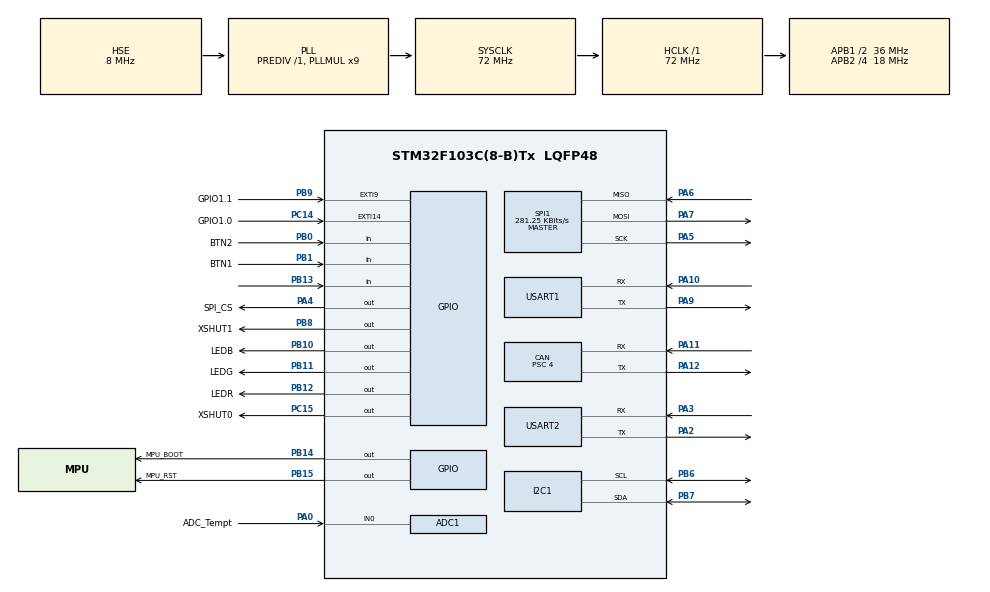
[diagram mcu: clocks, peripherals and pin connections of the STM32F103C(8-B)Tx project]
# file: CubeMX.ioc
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ADC1.Channel-3\#ChannelRegularConversion=ADC_CHANNEL_0
ADC1.NbrOfConversionFlag=1
ADC1.Rank-3\#ChannelRegularConversion=1
ADC1.SamplingTime-3\#ChannelRegularConversion=ADC_SAMPLETIME_239CYCLES_5
ADC1.master=1
CAN.BS1=CAN_BS1_13TQ
CAN.BS2=CAN_BS2_4TQ
CAN.CalculateBaudRate=500000
CAN.CalculateTimeBit=2000
CAN.CalculateTimeQuantum=111.11111111111111
CAN.Prescaler=4
Dma.Request0=SPI1_RX
Dma.Request1=SPI1_TX
Dma.SPI1_RX.0.Direction=DMA_PERIPH_TO_MEMORY
Dma.SPI1_RX.0.Instance=DMA1_Channel2
Dma.SPI1_RX.0.MemDataAlignment=DMA_MDATAALIGN_BYTE
Dma.SPI1_RX.0.MemInc=DMA_MINC_ENABLE
Dma.SPI1_RX.0.Mode=DMA_NORMAL
Dma.SPI1_RX.0.PeriphDataAlignment=DMA_PDATAALIGN_BYTE
Dma.SPI1_RX.0.PeriphInc=DMA_PINC_DISABLE
Dma.SPI1_RX.0.Priority=DMA_PRIORITY_LOW
Dma.SPI1_TX.1.Direction=DMA_MEMORY_TO_PERIPH
Dma.SPI1_TX.1.Instance=DMA1_Channel3
Dma.SPI1_TX.1.MemDataAlignment=DMA_MDATAALIGN_BYTE
Dma.SPI1_TX.1.MemInc=DMA_MINC_ENABLE
Dma.SPI1_TX.1.Mode=DMA_NORMAL
Dma.SPI1_TX.1.PeriphDataAlignment=DMA_PDATAALIGN_BYTE
Dma.SPI1_TX.1.PeriphInc=DMA_PINC_DISABLE
Dma.SPI1_TX.1.Priority=DMA_PRIORITY_LOW
FATFS._USE_LFN=3
Mcu.Family=STM32F1
Mcu.Name=STM32F103C(8-B)Tx
Mcu.Package=LQFP48
NVIC.DMA1_Channel2_IRQn=true\:0\:0\:false\:false\:true\:false\:true\:true
NVIC.DMA1_Channel3_IRQn=true\:0\:0\:false\:false\:true\:false\:true\:true
NVIC.EXTI15_10_IRQn=true\:0\:0\:false\:false\:true\:true\:true\:true
NVIC.EXTI9_5_IRQn=true\:0\:0\:false\:false\:true\:true\:true\:true
NVIC.PriorityGroup=NVIC_PRIORITYGROUP_4
PA0-WKUP.GPIO_Label=ADC_Tempt
PA0-WKUP.Signal=ADCx_IN0
PA10.Mode=Asynchronous
PA10.Signal=USART1_RX
PA11.Mode=CAN_Activate
PA11.Signal=CAN_RX
PA12.Mode=CAN_Activate
PA12.Signal=CAN_TX
PA13.Mode=Serial_Wire
PA13.Signal=SYS_JTMS-SWDIO
PA14.Mode=Serial_Wire
PA14.Signal=SYS_JTCK-SWCLK
PA2.Mode=Asynchronous
PA2.Signal=USART2_TX
PA3.Mode=Asynchronous
PA3.Signal=USART2_RX
PA4.GPIO_Label=SPI_CS
PA4.GPIO_Speed=GPIO_SPEED_FREQ_HIGH
PA4.PinState=GPIO_PIN_SET
PA4.Signal=GPIO_Output
PA5.Mode=Full_Duplex_Master
PA5.Signal=SPI1_SCK
PA6.Mode=Full_Duplex_Master
PA6.Signal=SPI1_MISO
PA7.Mode=Full_Duplex_Master
PA7.Signal=SPI1_MOSI
PA9.Mode=Asynchronous
PA9.Signal=USART1_TX
PB0.GPIO_Label=BTN2
PB0.Signal=GPIO_Input
PB1.GPIO_Label=BTN1
PB1.Signal=GPIO_Input
PB10.GPIO_Label=LEDB
PB10.Signal=GPIO_Output
PB11.GPIO_Label=LEDG
PB11.Signal=GPIO_Output
PB12.GPIO_Label=LEDR
PB12.Signal=GPIO_Output
PB13.Signal=GPIO_Input
PB14.GPIO_Label=MPU_BOOT
PB14.Signal=GPIO_Output
PB15.GPIO_Label=MPU_RST
PB15.Signal=GPIO_Output
PB6.Mode=I2C
PB6.Signal=I2C1_SCL
PB7.Mode=I2C
PB7.Signal=I2C1_SDA
PB8.GPIO_Label=XSHUT1
PB8.Signal=GPIO_Output
PB9.GPIO_Label=GPIO1.1
PB9.Signal=GPXTI9
PC14-OSC32_IN.GPIO_Label=GPIO1.0
PC14-OSC32_IN.Signal=GPXTI14
PC15-OSC32_OUT.GPIO_Label=XSHUT0
PC15-OSC32_OUT.Signal=GPIO_Output
PD0-OSC_IN.Mode=HSE-External-Oscillator
PD0-OSC_IN.Signal=RCC_OSC_IN
PD1-OSC_OUT.Mode=HSE-External-Oscillator
PD1-OSC_OUT.Signal=RCC_OSC_OUT
ProjectManager.HeapSize=0x200
ProjectManager.StackSize=0x400
ProjectManager.TargetToolchain=STM32CubeIDE
RCC.ADCPresc=RCC_ADCPCLK2_DIV6
RCC.AHBFreq_Value=72000000
RCC.APB1CLKDivider=RCC_HCLK_DIV2
RCC.APB1Freq_Value=36000000
RCC.APB1TimFreq_Value=72000000
RCC.APB2CLKDivider=RCC_HCLK_DIV4
RCC.APB2Freq_Value=18000000
RCC.APB2TimFreq_Value=36000000
RCC.HCLKFreq_Value=72000000
RCC.PLLMUL=RCC_PLL_MUL9
RCC.PLLSourceVirtual=RCC_PLLSOURCE_HSE
RCC.SYSCLKFreq_VALUE=72000000
RCC.SYSCLKSource=RCC_SYSCLKSOURCE_PLLCLK
RCC.USBFreq_Value=72000000
SH.ADCx_IN0.0=ADC1_IN0,IN0
SPI1.BaudRatePrescaler=SPI_BAUDRATEPRESCALER_64
SPI1.CalculateBaudRate=281.25 KBits/s
SPI1.Direction=SPI_DIRECTION_2LINES
SPI1.Mode=SPI_MODE_MASTER
SPI1.VirtualType=VM_MASTER
USART1.VirtualMode=VM_ASYNC
USART2.VirtualMode=VM_ASYNC
VP_FATFS_VS_Generic.Mode=User_defined
board=custom

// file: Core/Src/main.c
/* USER CODE BEGIN Header */
/**
 ******************************************************************************
 * @file           : main.c
 * @brief          : Main program body
 ******************************************************************************
 * @attention
 *
 * Copyright (c) 2026 STMicroelectronics.
 * All rights reserved.
 *
 * This software is licensed under terms that can be found in the LICENSE file
 * in the root directory of this software component.
 * If no LICENSE file comes with this software, it is provided AS-IS.
 *
 ******************************************************************************
 */
/* USER CODE END Header */
#include "main.h"
#include "fatfs.h"

/* USER CODE BEGIN Includes */
#include "string.h"
#include "stdio.h"
#include "sd_functions.h"
#include "driver_ina219.h"
#include "app_wrapper.h"
#include "config.h"
#include "vl53l1_api.h"
/* USER CODE END Includes */

ADC_HandleTypeDef hadc1;

CAN_HandleTypeDef hcan;

I2C_HandleTypeDef hi2c1;

SPI_HandleTypeDef hspi1;
DMA_HandleTypeDef hdma_spi1_rx;
DMA_HandleTypeDef hdma_spi1_tx;

UART_HandleTypeDef huart1;
UART_HandleTypeDef huart2;

/* USER CODE BEGIN PV */

#define NODE_SENSOR        2
#define NODE_ACTUATOR      1
#define NODE_ID            NODE_SENSOR
#define CAN_ID_HEARTBEAT   0x200
#define FW_MAJOR           0
#define FW_MINOR           1

/* ---- Tang goi: mot dinh nghia dung chung cho CAN va UART ----
 * CAN  : StdId = NODE_BASE + pkt_id
 * UART : $<node>,<pkt>,<uptime>,<payload hex>*<xor checksum>
 */
#define NODE_BASE_ACTUATOR 0x100
#define NODE_BASE_SENSOR   0x200
#define NODE_BASE          NODE_BASE_SENSOR

#define PKT_HEARTBEAT      0x00
#define PKT_ENV            0x01

#define LM35_VDDA_MV       3300UL
#define LM35_OVERSAMPLE    16U
#define LM35_DIVISOR       (4096UL * LM35_OVERSAMPLE)

static CAN_TxHeaderTypeDef canTxHeader;
static uint8_t  canTxData[8];
static uint32_t canTxMailbox;

static ina219_handle_t ina219_handle;

/* USER CODE END PV */

void SystemClock_Config(void);
static void MX_GPIO_Init(void);
static void MX_DMA_Init(void);
static void MX_ADC1_Init(void);
static void MX_CAN_Init(void);
static void MX_I2C1_Init(void);
static void MX_SPI1_Init(void);
static void MX_USART1_UART_Init(void);
static void MX_USART2_UART_Init(void);

/* USER CODE BEGIN 0 */
void CAN_NodeInit(void);
void CAN_SendHeartbeat(uint32_t uptime_ms);
void pkt_send(uint8_t pkt_id, const uint8_t *data, uint8_t len);
void Sensor_SendEnv(void);
void SPI_Loopback(void);
void SPI_CsBlink(uint32_t ms);

/* --- CÁC HÀM CẦU NỐI CHO INA219 --- */
static uint8_t ina219_iic_init(void) { return 0; }
static uint8_t ina219_iic_deinit(void) { return 0; }
static uint8_t ina219_iic_read(uint8_t addr, uint8_t reg, uint8_t *buf, uint16_t len)
{
	// hi2c1 đã được khởi tạo trong MX_I2C1_Init()
	return (HAL_I2C_Mem_Read(&hi2c1, addr, reg, I2C_MEMADD_SIZE_8BIT, buf, len, 100) == HAL_OK) ? 0 : 1;
}
static uint8_t ina219_iic_write(uint8_t addr, uint8_t reg, uint8_t *buf, uint16_t len)
{
	return (HAL_I2C_Mem_Write(&hi2c1, addr, reg, I2C_MEMADD_SIZE_8BIT, buf, len, 100) == HAL_OK) ? 0 : 1;
}
static void ina219_delay_ms(uint32_t ms)
{
	HAL_Delay(ms);
}
static void ina219_debug_print(const char *const fmt, ...)
{
	// Để trống nếu không dùng debug log nội bộ của driver
}

static void scan_bus(const char *title)
{
	printf("%-35s -> Dev: ", title);
	uint8_t count = 0;
	for (uint8_t a = 0x08; a <= 0x77; a++) {
		if (HAL_I2C_IsDeviceReady(&hi2c1, (uint16_t)(a << 1), 1, 5) == HAL_OK) {
			printf("0x%02X ", a);
			count++;
		}
	}
	if (count == 0) printf("None");
	printf("\r\n");
}
/* USER CODE END 0 */

int main(void)
{

	/* MCU Configuration--------------------------------------------------------*/

	/* Reset of all peripherals, Initializes the Flash interface and the Systick. */
	HAL_Init();

	/* Configure the system clock */
	SystemClock_Config();

	/* Initialize all configured peripherals */
	MX_GPIO_Init();
	MX_DMA_Init();
	MX_ADC1_Init();
	MX_CAN_Init();
	MX_I2C1_Init();
	MX_SPI1_Init();
	MX_USART1_UART_Init();
	MX_USART2_UART_Init();
	MX_FATFS_Init();
	/* USER CODE BEGIN 2 */

	//  Test
	//	SPI_Loopback();
	//  SD CARD
	//	sd_mount();
	//	sd_list_files();

	//
	//	sd_unmount();

	setvbuf(stdout, NULL, _IONBF, 0);

	printf("\r\n================ BAT DAU CHUOI TEST ================\r\n");
	/* =================================================================
	 * GIAI ĐOẠN 1: TEST SPI TRONG 5 GIÂY (Mỗi giây 1 mẫu)
	 * ================================================================= */
	//	printf("\n--- 1. TEST SPI (5s) ---\r\n");
	//	for (int i = 1; i <= 5; i++)
	//	{
	//		uint8_t tx = 0xA0 + i, rx = 0x00;
	//		HAL_SPI_TransmitReceive(&hspi1, &tx, &rx, 1, 50);
	//		printf("[SPI %ds] TX: 0x%02X | RX: 0x%02X (%s)\r\n",
	//				i, tx, rx, (rx == tx) ? "OK" : "NO LOOP");
	//		HAL_Delay(1000);
	//	}
	//	HAL_Delay(2000); // Nghỉ 2 giây trước khi qua phần 2
	//	/* =================================================================
	//	 * GIAI ĐOẠN 2: TEST I2C BUS SCAN TRONG 5 GIÂY (Mỗi giây quét 1 lần)
	//	 * ================================================================= */
	//	printf("\n--- 2. TEST I2C BUS (5s) ---\r\n");
	//	for (int i = 1; i <= 5; i++)
	//	{
	//		uint8_t count = 0;
	//		printf("[I2C %ds] Dev: ", i);
	//		for (uint8_t addr = 0x08; addr <= 0x77; addr++)
	//		{
	//			if (HAL_I2C_IsDeviceReady(&hi2c1, (uint16_t)(addr << 1), 1, 5) == HAL_OK)
	//			{
	//				printf("0x%02X ", addr);
	//				count++;
	//			}
	//		}
	//		if (count == 0) printf("None");
	//		printf("\r\n");
	//		HAL_Delay(1000);
	//	}
	//	HAL_Delay(2000); // Nghỉ 2 giây trước khi qua phần 3
	//	/* =================================================================
	//	 * GIAI ĐOẠN 3: TEST CẢM BIẾN DÒNG/ÁP INA219 TRONG 5 GIÂY
	//	 * ================================================================= */
	//	printf("\n--- 3. TEST INA219 (5s) ---\r\n");
	//	DRIVER_INA219_LINK_INIT(&ina219_handle, ina219_handle_t);
	//	DRIVER_INA219_LINK_IIC_INIT(&ina219_handle, ina219_iic_init);
	//	DRIVER_INA219_LINK_IIC_DEINIT(&ina219_handle, ina219_iic_deinit);
	//	DRIVER_INA219_LINK_IIC_READ(&ina219_handle, ina219_iic_read);
	//	DRIVER_INA219_LINK_IIC_WRITE(&ina219_handle, ina219_iic_write);
	//	DRIVER_INA219_LINK_DELAY_MS(&ina219_handle, ina219_delay_ms);
	//	DRIVER_INA219_LINK_DEBUG_PRINT(&ina219_handle, ina219_debug_print);
	//	ina219_set_addr_pin(&ina219_handle, INA219_ADDRESS_0);
	//	if (ina219_init(&ina219_handle) == 0)
	//	{
	//		for (int i = 1; i <= 5; i++)
	//		{
	//			uint16_t v_raw = 0;
	//			int16_t s_raw = 0;
	//			float v_bus_mV = 0.0f, v_shunt_mV = 0.0f;
	//			ina219_read_bus_voltage(&ina219_handle, &v_raw, &v_bus_mV);
	//			ina219_read_shunt_voltage(&ina219_handle, &s_raw, &v_shunt_mV);
	//			int v_mv = (int)v_bus_mV;
	//			int i_ma = (int)(v_shunt_mV * 10.0f);
	//			printf("[INA219 %ds] V: %d.%02dV | I: %d mA\r\n",
	//					i, v_mv / 1000, (v_mv % 1000) / 10, i_ma);
	//
	//			HAL_Delay(1000);
	//		}
	//	}
	//	else
	//	{
	//		printf("[INA219] Khởi tạo thất bại!\r\n");
	//	}
	//	HAL_Delay(2000); // Nghỉ 2 giây trước khi qua phần 4
	//	/* =================================================================
	//	 * GIAI ĐOẠN 4: TEST NHIỆT ĐỘ LM35 TRONG 10 GIÂY
	//	 * ================================================================= */
	//	printf("\n--- 4. TEST LM35 NHIỆT ĐỘ (10s) ---\r\n");
	//	for (int i = 1; i <= 10; i++)
	//	{
	//		HAL_ADC_Start(&hadc1);
	//		if (HAL_ADC_PollForConversion(&hadc1, 50) == HAL_OK)
	//		{
	//			uint32_t raw = HAL_ADC_GetValue(&hadc1);
	//			uint32_t temp_x10 = (raw * 3300) / 4095; // Nhân 10 để giữ 1 số thập phân
	//			printf("[LM35 %2ds] Raw: %4lu | Temp: %lu.%lu C\r\n", i, (unsigned long)raw, temp_x10 / 10, temp_x10 % 10);
	//
	//		}
	//		else
	//		{
	//			printf("[LM35 %2ds] ADC Timeout\r\n", i);
	//		}
	//		HAL_ADC_Stop(&hadc1);
	//		HAL_Delay(1000);
	//	}
	//	HAL_Delay(2000); // Nghỉ 2 giây trước khi qua phần 5
	//	/* =================================================================
	//	 * GIAI ĐOẠN 5: TEST ĐÈN LED TRONG 5 GIÂY (Đổi màu mỗi 500ms)
	//	 * ================================================================= */
	//	printf("\n--- 5. TEST LED RGB (5s) ---\r\n");
	//	HAL_GPIO_WritePin(GPIOB, LEDR_Pin | LEDG_Pin | LEDB_Pin, GPIO_PIN_RESET);
	//	for (int i = 1; i <= 5; i++)
	//	{
	//		// 1. Đỏ (LEDR - PB12)
	//		HAL_GPIO_WritePin(LEDR_GPIO_Port, LEDR_Pin, GPIO_PIN_SET);
	//		HAL_GPIO_WritePin(LEDG_GPIO_Port, LEDG_Pin, GPIO_PIN_RESET);
	//		HAL_GPIO_WritePin(LEDB_GPIO_Port, LEDB_Pin, GPIO_PIN_RESET);
	//		printf("[LED %ds] -> ĐỎ\r\n", i);
	//		HAL_Delay(350);
	//		// 2. Xanh lá (LEDG - PB11)
	//		HAL_GPIO_WritePin(LEDR_GPIO_Port, LEDR_Pin, GPIO_PIN_RESET);
	//		HAL_GPIO_WritePin(LEDG_GPIO_Port, LEDG_Pin, GPIO_PIN_SET);
	//		HAL_GPIO_WritePin(LEDB_GPIO_Port, LEDB_Pin, GPIO_PIN_RESET);
	//		printf("[LED %ds] -> XANH LÁ\r\n", i);
	//		HAL_Delay(350);
	//		// 3. Xanh dương (LEDB - PB10)
	//		HAL_GPIO_WritePin(LEDR_GPIO_Port, LEDR_Pin, GPIO_PIN_RESET);
	//		HAL_GPIO_WritePin(LEDG_GPIO_Port, LEDG_Pin, GPIO_PIN_RESET);
	//		HAL_GPIO_WritePin(LEDB_GPIO_Port, LEDB_Pin, GPIO_PIN_SET);
	//		printf("[LED %ds] -> XANH DƯƠNG\r\n", i);
	//		HAL_Delay(300);
	//	}
	//	HAL_GPIO_WritePin(GPIOB, LEDR_Pin | LEDG_Pin | LEDB_Pin, GPIO_PIN_RESET);
	//	HAL_Delay(2000); // Nghỉ 2 giây trước khi qua phần 6
	/* =================================================================
	 * GIAI ĐOẠN 6: CHẨN ĐOÁN XSHUT & ĐỊA CHỈ I2C CỦA VL53L1X
	 * ================================================================= */
	printf("\r\n================ CHUẨN ĐOÁN CẤU HÌNH VL53L1X ================\r\n");

	/* BƯỚC 1: Tắt cả 2 cảm biến (XSHUT = LOW) */
	HAL_GPIO_WritePin(XSHUT0_GPIO_Port, XSHUT0_Pin, GPIO_PIN_RESET);
	HAL_GPIO_WritePin(XSHUT1_GPIO_Port, XSHUT1_Pin, GPIO_PIN_RESET);
	HAL_Delay(100);
	scan_bus("[1] Tat ca XSHUT = LOW (Mong doi: Khong co VL53L1 nao)");

	/* BƯỚC 2: Bật Cảm biến 0 (PC15) -> Xem địa chỉ khởi tạo gốc */
	HAL_GPIO_WritePin(XSHUT0_GPIO_Port, XSHUT0_Pin, GPIO_PIN_SET);
	HAL_Delay(100);
	printf("[2] Bat Sensor 0 (PC15): Dia chi khoi tao mac dinh = 0x52 (7-bit: 0x29)\r\n");
	scan_bus("    -> Quet I2C sau khi bat Sensor 0");

	/* BƯỚC 3: Tắt lại để nhường cho hàm SensorManager tự quản lý */
	HAL_GPIO_WritePin(XSHUT0_GPIO_Port, XSHUT0_Pin, GPIO_PIN_RESET);
	HAL_Delay(50);

	/* BƯỚC 4: In cấu hình địa chỉ dự kiến gán mới */
	printf("\r\n--- Cau hinh dia chi moi tu config.h ---\r\n");
	for (uint8_t s = 0; s < L1_COUNT; s++) {
		printf("Sensor %u (Pin: %s) -> Dia chi moi: 0x%02X (7-bit: 0x%02X)\r\n",
				s, (s == 0) ? "PC15" : "PB8", L1_I2C_ADDRS[s], L1_I2C_ADDRS[s] >> 1);
	}

	/* BƯỚC 5: Chạy khởi tạo SensorManager */
	printf("\r\nDang thuc hien khoi tao va doi dia chi I2C...\r\n");
	bool sensors_ok = sensor_system_init();
	if (sensors_ok) {
		printf("SensorManager: KHOI TAO THANH CONG!\r\n");
	} else {
		printf("SensorManager: KHOI TAO THAT BAI!\r\n");
	}

	/* BƯỚC 6: Quét bus I2C để kiểm chứng địa chỉ thực tế sau khi đổi */
	scan_bus("[3] Quet I2C thuc te sau khi doi dia chi (Mong doi: thay 0x30 va 0x31)");
	printf("=============================================================\r\n");

	printf("\r\n================ HOAN TAT BAI TEST ================\r\n");

	//
	//    /* ADC cua F103 phai hieu chuan mot lan sau moi lan cap nguon,
	//     * neu khong so doc bi lech offset. CubeMX khong sinh dong nay. */
	//    if (HAL_ADCEx_Calibration_Start(&hadc1) != HAL_OK)
	//      Error_Handler();
	//
	//    CAN_NodeInit();
	////    printf("\r\n=== node %u boot, fw %u.%u ===\r\n", NODE_ID, FW_MAJOR, FW_MINOR);
	//
	//    uint32_t t_hb = 0, t_env = 0;
	//    while (1)
	//    {
	//      uint32_t now = HAL_GetTick();
	//
	//      if (now - t_hb >= 200U)
	//      {
	//        t_hb = now;
	//        HAL_GPIO_TogglePin(LEDR_GPIO_Port, LEDR_Pin);
	//
	//        /* ESR cho biet CAN dang khoe hay dang chet */
	//        uint32_t esr = hcan.Instance->ESR;
	////        printf("[%lu] node=%u tec=%u rec=%u lec=%u boff=%u\r\n",
	////               now, NODE_ID,
	////               (unsigned)((esr >> 16) & 0xFF),
	////               (unsigned)((esr >> 24) & 0xFF),
	////               (unsigned)((esr >> 4) & 0x07),
	////               (unsigned)((esr >> 2) & 0x01));
	//
	//        CAN_SendHeartbeat(now);
	//      }
	//
	//      if (now - t_env >= 500U)
	//      {
	//        t_env = now;
	//        Sensor_SendEnv();
	//      }
	//    }
	/* USER CODE END 2 */

	/* Infinite loop */
	/* USER CODE BEGIN WHILE */
	uint32_t loop_sec = 0;
	while (1)
	{
		/* USER CODE END WHILE */

		/* USER CODE BEGIN 3 */
		loop_sec++;
		printf("\r\n================ [VL53L1 TEST - %4lus] ================\r\n", (unsigned long)loop_sec);
		for (uint8_t i = 0; i < L1_COUNT; i++) {
			printf("Sensor %u: ", i);
			uint16_t dist = sensor_system_get_distance(i);
			if (dist != 0xFFFF) {
				printf("Khoang cach: %4d mm | TOT\r\n", dist);
			} else {
				printf(" LOI (0xFFFF)\r\n");
			}
			HAL_Delay(100);
		}
		/* Hien thi 1 lan tren 1 giay (chu ky 1000ms) */
		HAL_Delay(1000);
	}
/* USER CODE END 3 */
}

void SystemClock_Config(void)
{
	RCC_OscInitTypeDef RCC_OscInitStruct = {0};
	RCC_ClkInitTypeDef RCC_ClkInitStruct = {0};
	RCC_PeriphCLKInitTypeDef PeriphClkInit = {0};

	/** Initializes the RCC Oscillators according to the specified parameters
	 * in the RCC_OscInitTypeDef structure.
	 */
	RCC_OscInitStruct.OscillatorType = RCC_OSCILLATORTYPE_HSE;
	RCC_OscInitStruct.HSEState = RCC_HSE_ON;
	RCC_OscInitStruct.HSEPredivValue = RCC_HSE_PREDIV_DIV1;
	RCC_OscInitStruct.HSIState = RCC_HSI_ON;
	RCC_OscInitStruct.PLL.PLLState = RCC_PLL_ON;
	RCC_OscInitStruct.PLL.PLLSource = RCC_PLLSOURCE_HSE;
	RCC_OscInitStruct.PLL.PLLMUL = RCC_PLL_MUL9;
	if (HAL_RCC_OscConfig(&RCC_OscInitStruct) != HAL_OK)
	{
		Error_Handler();
	}

	/** Initializes the CPU, AHB and APB buses clocks
	 */
	RCC_ClkInitStruct.ClockType = RCC_CLOCKTYPE_HCLK|RCC_CLOCKTYPE_SYSCLK
			|RCC_CLOCKTYPE_PCLK1|RCC_CLOCKTYPE_PCLK2;
	RCC_ClkInitStruct.SYSCLKSource = RCC_SYSCLKSOURCE_PLLCLK;
	RCC_ClkInitStruct.AHBCLKDivider = RCC_SYSCLK_DIV1;
	RCC_ClkInitStruct.APB1CLKDivider = RCC_HCLK_DIV2;
	RCC_ClkInitStruct.APB2CLKDivider = RCC_HCLK_DIV4;

	if (HAL_RCC_ClockConfig(&RCC_ClkInitStruct, FLASH_LATENCY_2) != HAL_OK)
	{
		Error_Handler();
	}
	PeriphClkInit.PeriphClockSelection = RCC_PERIPHCLK_ADC;
	PeriphClkInit.AdcClockSelection = RCC_ADCPCLK2_DIV6;
	if (HAL_RCCEx_PeriphCLKConfig(&PeriphClkInit) != HAL_OK)
	{
		Error_Handler();
	}
}

static void MX_ADC1_Init(void)
{

	ADC_ChannelConfTypeDef sConfig = {0};

	/** Common config
	 */
	hadc1.Instance = ADC1;
	hadc1.Init.ScanConvMode = ADC_SCAN_DISABLE;
	hadc1.Init.ContinuousConvMode = DISABLE;
	hadc1.Init.DiscontinuousConvMode = DISABLE;
	hadc1.Init.ExternalTrigConv = ADC_SOFTWARE_START;
	hadc1.Init.DataAlign = ADC_DATAALIGN_RIGHT;
	hadc1.Init.NbrOfConversion = 1;
	if (HAL_ADC_Init(&hadc1) != HAL_OK)
	{
		Error_Handler();
	}

	/** Configure Regular Channel
	 */
	sConfig.Channel = ADC_CHANNEL_0;
	sConfig.Rank = ADC_REGULAR_RANK_1;
	sConfig.SamplingTime = ADC_SAMPLETIME_239CYCLES_5;
	if (HAL_ADC_ConfigChannel(&hadc1, &sConfig) != HAL_OK)
	{
		Error_Handler();
	}

}

static void MX_CAN_Init(void)
{

	hcan.Instance = CAN1;
	hcan.Init.Prescaler = 4;
	hcan.Init.Mode = CAN_MODE_NORMAL;
	hcan.Init.SyncJumpWidth = CAN_SJW_1TQ;
	hcan.Init.TimeSeg1 = CAN_BS1_13TQ;
	hcan.Init.TimeSeg2 = CAN_BS2_4TQ;
	hcan.Init.TimeTriggeredMode = DISABLE;
	hcan.Init.AutoBusOff = DISABLE;
	hcan.Init.AutoWakeUp = DISABLE;
	hcan.Init.AutoRetransmission = DISABLE;
	hcan.Init.ReceiveFifoLocked = DISABLE;
	hcan.Init.TransmitFifoPriority = DISABLE;
	if (HAL_CAN_Init(&hcan) != HAL_OK)
	{
		Error_Handler();
	}

}

static void MX_I2C1_Init(void)
{

	hi2c1.Instance = I2C1;
	hi2c1.Init.ClockSpeed = 100000;
	hi2c1.Init.DutyCycle = I2C_DUTYCYCLE_2;
	hi2c1.Init.OwnAddress1 = 0;
	hi2c1.Init.AddressingMode = I2C_ADDRESSINGMODE_7BIT;
	hi2c1.Init.DualAddressMode = I2C_DUALADDRESS_DISABLE;
	hi2c1.Init.OwnAddress2 = 0;
	hi2c1.Init.GeneralCallMode = I2C_GENERALCALL_DISABLE;
	hi2c1.Init.NoStretchMode = I2C_NOSTRETCH_DISABLE;
	if (HAL_I2C_Init(&hi2c1) != HAL_OK)
	{
		Error_Handler();
	}

}

static void MX_SPI1_Init(void)
{

	/* SPI1 parameter configuration*/
	hspi1.Instance = SPI1;
	hspi1.Init.Mode = SPI_MODE_MASTER;
	hspi1.Init.Direction = SPI_DIRECTION_2LINES;
	hspi1.Init.DataSize = SPI_DATASIZE_8BIT;
	hspi1.Init.CLKPolarity = SPI_POLARITY_LOW;
	hspi1.Init.CLKPhase = SPI_PHASE_1EDGE;
	hspi1.Init.NSS = SPI_NSS_SOFT;
	hspi1.Init.BaudRatePrescaler = SPI_BAUDRATEPRESCALER_64;
	hspi1.Init.FirstBit = SPI_FIRSTBIT_MSB;
	hspi1.Init.TIMode = SPI_TIMODE_DISABLE;
	hspi1.Init.CRCCalculation = SPI_CRCCALCULATION_DISABLE;
	hspi1.Init.CRCPolynomial = 10;
	if (HAL_SPI_Init(&hspi1) != HAL_OK)
	{
		Error_Handler();
	}

}

static void MX_USART1_UART_Init(void)
{

	huart1.Instance = USART1;
	huart1.Init.BaudRate = 115200;
	huart1.Init.WordLength = UART_WORDLENGTH_8B;
	huart1.Init.StopBits = UART_STOPBITS_1;
	huart1.Init.Parity = UART_PARITY_NONE;
	huart1.Init.Mode = UART_MODE_TX_RX;
	huart1.Init.HwFlowCtl = UART_HWCONTROL_NONE;
	huart1.Init.OverSampling = UART_OVERSAMPLING_16;
	if (HAL_UART_Init(&huart1) != HAL_OK)
	{
		Error_Handler();
	}

}

static void MX_USART2_UART_Init(void)
{

	huart2.Instance = USART2;
	huart2.Init.BaudRate = 115200;
	huart2.Init.WordLength = UART_WORDLENGTH_8B;
	huart2.Init.StopBits = UART_STOPBITS_1;
	huart2.Init.Parity = UART_PARITY_NONE;
	huart2.Init.Mode = UART_MODE_TX_RX;
	huart2.Init.HwFlowCtl = UART_HWCONTROL_NONE;
	huart2.Init.OverSampling = UART_OVERSAMPLING_16;
	if (HAL_UART_Init(&huart2) != HAL_OK)
	{
		Error_Handler();
	}

}

static void MX_DMA_Init(void)
{

	/* DMA controller clock enable */
	__HAL_RCC_DMA1_CLK_ENABLE();

	/* DMA interrupt init */
	/* DMA1_Channel2_IRQn interrupt configuration */
	HAL_NVIC_SetPriority(DMA1_Channel2_IRQn, 0, 0);
	HAL_NVIC_EnableIRQ(DMA1_Channel2_IRQn);
	/* DMA1_Channel3_IRQn interrupt configuration */
	HAL_NVIC_SetPriority(DMA1_Channel3_IRQn, 0, 0);
	HAL_NVIC_EnableIRQ(DMA1_Channel3_IRQn);

}

static void MX_GPIO_Init(void)
{
	GPIO_InitTypeDef GPIO_InitStruct = {0};

	/* GPIO Ports Clock Enable */
	__HAL_RCC_GPIOC_CLK_ENABLE();
	__HAL_RCC_GPIOD_CLK_ENABLE();
	__HAL_RCC_GPIOA_CLK_ENABLE();
	__HAL_RCC_GPIOB_CLK_ENABLE();

	/*Configure GPIO pin Output Level */
	HAL_GPIO_WritePin(XSHUT0_GPIO_Port, XSHUT0_Pin, GPIO_PIN_RESET);

	/*Configure GPIO pin Output Level */
	HAL_GPIO_WritePin(SPI_CS_GPIO_Port, SPI_CS_Pin, GPIO_PIN_SET);

	/*Configure GPIO pin Output Level */
	HAL_GPIO_WritePin(GPIOB, LEDB_Pin|LEDG_Pin|LEDR_Pin|MPU_BOOT_Pin
			|MPU_RST_Pin|XSHUT1_Pin, GPIO_PIN_RESET);

	/*Configure GPIO pin : GPIO1_0_Pin */
	GPIO_InitStruct.Pin = GPIO1_0_Pin;
	GPIO_InitStruct.Mode = GPIO_MODE_IT_RISING;
	GPIO_InitStruct.Pull = GPIO_NOPULL;
	HAL_GPIO_Init(GPIO1_0_GPIO_Port, &GPIO_InitStruct);

	/*Configure GPIO pin : XSHUT0_Pin */
	GPIO_InitStruct.Pin = XSHUT0_Pin;
	GPIO_InitStruct.Mode = GPIO_MODE_OUTPUT_PP;
	GPIO_InitStruct.Pull = GPIO_NOPULL;
	GPIO_InitStruct.Speed = GPIO_SPEED_FREQ_LOW;
	HAL_GPIO_Init(XSHUT0_GPIO_Port, &GPIO_InitStruct);

	/*Configure GPIO pin : SPI_CS_Pin */
	GPIO_InitStruct.Pin = SPI_CS_Pin;
	GPIO_InitStruct.Mode = GPIO_MODE_OUTPUT_PP;
	GPIO_InitStruct.Pull = GPIO_NOPULL;
	GPIO_InitStruct.Speed = GPIO_SPEED_FREQ_HIGH;
	HAL_GPIO_Init(SPI_CS_GPIO_Port, &GPIO_InitStruct);

	/*Configure GPIO pins : BTN2_Pin BTN1_Pin PB13 */
	GPIO_InitStruct.Pin = BTN2_Pin|BTN1_Pin|GPIO_PIN_13;
	GPIO_InitStruct.Mode = GPIO_MODE_INPUT;
	GPIO_InitStruct.Pull = GPIO_NOPULL;
	HAL_GPIO_Init(GPIOB, &GPIO_InitStruct);

	/*Configure GPIO pins : LEDB_Pin LEDG_Pin LEDR_Pin MPU_BOOT_Pin
                           MPU_RST_Pin XSHUT1_Pin */
	GPIO_InitStruct.Pin = LEDB_Pin|LEDG_Pin|LEDR_Pin|MPU_BOOT_Pin
			|MPU_RST_Pin|XSHUT1_Pin;
	GPIO_InitStruct.Mode = GPIO_MODE_OUTPUT_PP;
	GPIO_InitStruct.Pull = GPIO_NOPULL;
	GPIO_InitStruct.Speed = GPIO_SPEED_FREQ_LOW;
	HAL_GPIO_Init(GPIOB, &GPIO_InitStruct);

	/*Configure GPIO pin : GPIO1_1_Pin */
	GPIO_InitStruct.Pin = GPIO1_1_Pin;
	GPIO_InitStruct.Mode = GPIO_MODE_IT_RISING;
	GPIO_InitStruct.Pull = GPIO_NOPULL;
	HAL_GPIO_Init(GPIO1_1_GPIO_Port, &GPIO_InitStruct);

	/* EXTI interrupt init*/
	HAL_NVIC_SetPriority(EXTI9_5_IRQn, 0, 0);
	HAL_NVIC_EnableIRQ(EXTI9_5_IRQn);

	HAL_NVIC_SetPriority(EXTI15_10_IRQn, 0, 0);
	HAL_NVIC_EnableIRQ(EXTI15_10_IRQn);

}

/* USER CODE BEGIN 4 */

int __io_putchar(int ch)
{
	HAL_UART_Transmit(&huart1, (uint8_t *) &ch, 1, HAL_MAX_DELAY);
	return ch;
}

/* Chia doi bai toan: noi tam PA7 (MOSI) vao PA6 (MISO) bang mot day nhay roi
 * goi ham nay. Byte gui ra phai quay ve nguyen ven.
 *   DAT     -> SPI, SCK va hai chan du lieu cua MCU deu tot, loi o phia the
 *   THAT BAI -> loi nam trong MCU: clock khong ra, hoac chan sai che do */
void SPI_Loopback(void)
{
	static const uint8_t pattern[] = {0x00, 0xFF, 0x5A, 0xA5, 0x01, 0x80};
	uint8_t rx, bad = 0;

	printf("[SPI] loopback: noi PA7 vao PA6 truoc khi chay\r\n");
	for (uint8_t i = 0; i < sizeof(pattern); i++)
	{
		if (HAL_SPI_TransmitReceive(&hspi1, (uint8_t *)&pattern[i], &rx, 1, 100) != HAL_OK)
		{
			printf("[SPI] HAL loi o byte %u\r\n", (unsigned)i);
			bad++;
			continue;
		}
		printf("[SPI] gui %02X  nhan %02X  %s\r\n",
				pattern[i], rx, (rx == pattern[i]) ? "ok" : "SAI");
		if (rx != pattern[i])
			bad++;
	}
	printf("[SPI] %s\r\n", bad ? "THAT BAI: loi nam o MCU/SPI"
			: "DAT: MCU tot, loi o the nho hoac day noi");
}

/* Dap chan CS lien tuc de do bang dong ho. Do NGAY TAI CHAN CS CUA MODULE,
 * khong do tai PA4 - nhu vay moi kiem tra duoc ca doan day. Muc DC doc duoc
 * phai khoang 1,65 V. Doc 3,3 V hoac 0 V nghia la day dut hoac ngan mach. */
void SPI_CsBlink(uint32_t ms)
{
	uint32_t t0 = HAL_GetTick();

	printf("[SPI] dap CS trong %lu ms, do tai chan CS cua module\r\n",
			(unsigned long)ms);
	while (HAL_GetTick() - t0 < ms)
	{
		HAL_GPIO_TogglePin(SPI_CS_GPIO_Port, SPI_CS_Pin);
		HAL_Delay(1);
	}
	HAL_GPIO_WritePin(SPI_CS_GPIO_Port, SPI_CS_Pin, GPIO_PIN_SET);
	printf("[SPI] xong, CS tra ve muc cao\r\n");
}

void CAN_NodeInit(void)
{
	CAN_FilterTypeDef filter = {0};
	filter.FilterBank = 0;
	filter.FilterMode = CAN_FILTERMODE_IDMASK;
	filter.FilterScale = CAN_FILTERSCALE_32BIT;
	filter.FilterIdHigh = 0x0000;
	filter.FilterIdLow = 0x0000;
	filter.FilterMaskIdHigh = 0x0000; /* mask 0 = nhan tat ca */
	filter.FilterMaskIdLow = 0x0000;
	filter.FilterFIFOAssignment = CAN_FILTER_FIFO0;
	filter.FilterActivation = ENABLE;
	filter.SlaveStartFilterBank = 14;
	if (HAL_CAN_ConfigFilter(&hcan, &filter) != HAL_OK)
		Error_Handler();
	if (HAL_CAN_Start(&hcan) != HAL_OK)
		Error_Handler();

	canTxHeader.StdId = CAN_ID_HEARTBEAT;
	canTxHeader.ExtId = 0;
	canTxHeader.IDE = CAN_ID_STD;
	canTxHeader.RTR = CAN_RTR_DATA;
	canTxHeader.DLC = 8;
	canTxHeader.TransmitGlobalTime = DISABLE;
}

/* Gui mot goi ra CA HAI duong truyen voi cung mot payload.
 * CAN  : StdId = NODE_BASE + pkt_id, toi da 8 byte.
 * UART : $<node>,<pkt>,<uptime>,<hex>*<xor>  -- doc duoc ngay trong tab Debug. */
void pkt_send(uint8_t pkt_id, const uint8_t *data, uint8_t len)
{
	if (len > 8) len = 8;

	/* --- CAN --- */
	canTxHeader.StdId = NODE_BASE + pkt_id;
	canTxHeader.DLC   = len;
	if (HAL_CAN_GetTxMailboxesFreeLevel(&hcan) > 0)
		HAL_CAN_AddTxMessage(&hcan, &canTxHeader, (uint8_t *)data, &canTxMailbox);

	/* --- UART --- */
	char body[48];
	int n = snprintf(body, sizeof(body), "%u,%02X,%lu,",
			(unsigned)NODE_ID, (unsigned)pkt_id,
			(unsigned long)HAL_GetTick());
	if (n < 0 || n >= (int)sizeof(body))
		return;

	for (uint8_t i = 0; i < len; i++)
	{
		if (n + 3 > (int)sizeof(body))
			break;
		n += snprintf(body + n, (size_t)(sizeof(body) - n), "%02X", data[i]);
	}

	HAL_Delay(200);

	uint8_t xo = 0;
	for (int i = 0; i < n; i++)
		xo ^= (uint8_t)body[i];

	char line[56];
	int m = snprintf(line, sizeof(line), "$%s*%02X\r\n", body, xo);
	if (m > 0 && m < (int)sizeof(line))
		HAL_UART_Transmit(&huart1, (uint8_t *)line, (uint16_t)m, 100);
}

/* Cong don LM35_OVERSAMPLE mau tren kenh LM35 (PA0 / ADC1_IN0).
 * Tra ve TONG chua chia, de phep tinh nhiet do giu duoc do phan giai. */
static uint32_t LM35_ReadSum(void)
{
	uint32_t sum = 0;

	for (uint8_t i = 0; i < LM35_OVERSAMPLE; i++)
	{
		if (HAL_ADC_Start(&hadc1) != HAL_OK)
			return 0;
		if (HAL_ADC_PollForConversion(&hadc1, 10) == HAL_OK)
			sum += HAL_ADC_GetValue(&hadc1);
		HAL_ADC_Stop(&hadc1);
	}
	return sum;
}

void Sensor_SendEnv(void)
{
	uint32_t sum      = LM35_ReadSum();
	uint16_t raw_avg  = (uint16_t)(sum / LM35_OVERSAMPLE);
	int16_t  temp_x10 = (int16_t)((sum * LM35_VDDA_MV) / LM35_DIVISOR);

	uint8_t p[4];
	p[0] = (uint8_t)(raw_avg);
	p[1] = (uint8_t)(raw_avg >> 8);
	p[2] = (uint8_t)(temp_x10);
	p[3] = (uint8_t)(temp_x10 >> 8);
	pkt_send(PKT_ENV, p, 4);

	printf("[%lu] LM35 raw=%u  temp=%d.%d C\r\n",
			(unsigned long)HAL_GetTick(),
			(unsigned)raw_avg,
			(int)(temp_x10 / 10), (int)(temp_x10 % 10));
}

void CAN_SendHeartbeat(uint32_t uptime_ms)
{
	canTxData[0] = (uint8_t)(uptime_ms);
	canTxData[1] = (uint8_t)(uptime_ms >> 8);
	canTxData[2] = (uint8_t)(uptime_ms >> 16);
	canTxData[3] = (uint8_t)(uptime_ms >> 24);
	canTxData[4] = FW_MAJOR;
	canTxData[5] = FW_MINOR;
	canTxData[6] = NODE_ID;
	canTxData[7] = 0x00;
	pkt_send(PKT_HEARTBEAT, canTxData, 8);
}

/* USER CODE END 4 */

void Error_Handler(void)
{
	__disable_irq();
	while (1)
	{
	}
}
